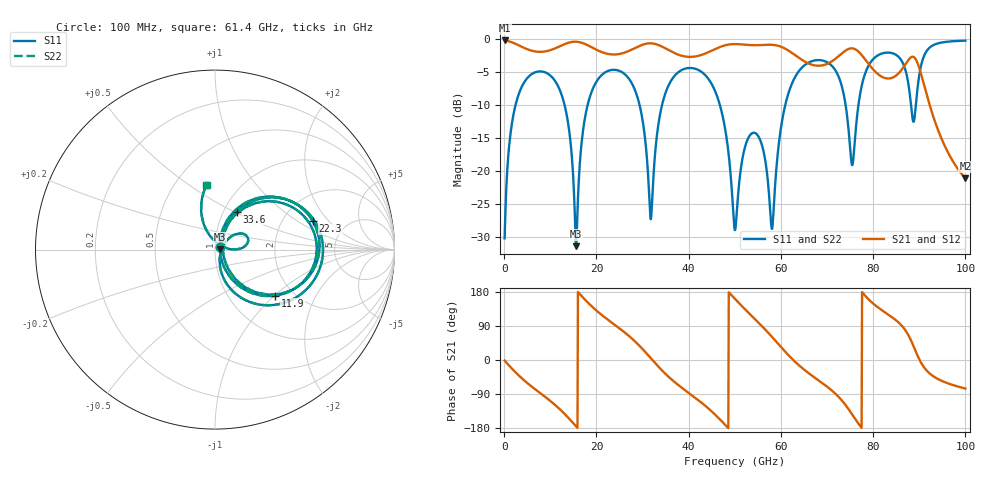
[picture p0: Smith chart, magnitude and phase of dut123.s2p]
! Touchstone file exported from HFSS 2026.1.0
!  File:  C:/ffzhzh/LocalFiles/Ansys_Project_Files/temp_train_TSV_RDL_123_1783459226_7600.aedt
!  Generated:  05:32:35 AM Jul  8, 2026
!  Design:  TSV_RDL
!  Project:  temp_train_TSV_RDL_123_1783459226_7600
! Variables:
!  h_bsmrdl = 2.64um
!  h_ox = 20um
!  h_rdl = 5um
!  h_sub = 79.86um
!  h_tmrdl = 2.88um
!  h_tsv = 79.86um
!  h_via = 3um
!  l_bsmrdl = 536.97um
!  l_sub = 3588.08um
!  l_tmrdl = 371.26um
!  m_sub = 200um
!  pitch = 47.56um
!  r_tsv = 11.27um
!  s_tmrdl = 10um
!  w_bsmrdl = 14.22um
!  w_sub = 500um
!  w_tmrdl = 16.49um
!  x_tsv_center1 = 379.505um
!  x_tsv_center2 = 930.695um
!  x_tsv_center3 = 1318.445um
!  x_tsv_center4 = 1869.635um
!  x_tsv_center5 = 2257.385um
!  x_tsv_center6 = 2808.575um
# GHz S MA R 50.000000
! Terminal data exported
! Port[1] = TM_RDL1_1_T1
! Port[2] = TM_RDL5_1_T1
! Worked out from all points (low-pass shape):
!   1000 points, 100 MHz to 100 GHz, reference 50 ohm
!   highest |S21| = -0.24 dB at 100 MHz (marker M1); lowest = -21.2 dB at 100 GHz (marker M2)
!   |S21| within 3 dB of the highest: start of sweep to 64.69 GHz; 71.4 GHz to 78.41 GHz (7.008 GHz wide, 9.36 % of centre) (the widest 2 of 3)
!   lowest |S11| = -31.4 dB at 15.6 GHz (marker M3), VSWR 1.06, Z = 52.7 + j0.167 ohm
!   |S11| at or under -10 dB: 13.09 GHz to 18.11 GHz (5.02 GHz wide, 32.2 % of centre); 29.35 GHz to 34.24 GHz (4.89 GHz wide, 15.4 % of centre); 46.76 GHz to 60.96 GHz (14.2 GHz wide, 26.4 % of centre) (the widest 3 of 6)
!   |S22| runs from -31.7 to -0.3 dB; largest |S21 - S12| = 1.8e-14
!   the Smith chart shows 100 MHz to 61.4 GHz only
!   S11 on the Smith chart (normalised r, x): 100 MHz: 1.06, +0.03; 11.9 GHz: 1.62, -1.01; 22.3 GHz: 2.92, +1.36; 33.6 GHz: 1.15, +0.52; 61.4 GHz: 0.71, +0.59
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0.1  0.03072 27.9  0.9731 -1.4  0.9731 -1.4  0.03072 27.9
! Gamma 0 0 0 0
! Port Impedance 50 0 50 0
3.5  0.4092 41.2  0.882 -44.6  0.882 -44.6  0.4092 41.2
11.9  0.4226 -37.4  0.8738 -127.9  0.8738 -127.9  0.4226 -37.4
15.6  0.02681 3.4  0.9519 -175.1  0.9519 -175.1  0.02612 3.3
16.8  0.164 68.0  0.9351 168.7  0.9351 168.7  0.1638 68.2
22.3  0.5673 16.2  0.772 108.1  0.772 108.1  0.5672 16.3
28.7  0.38 -41.1  0.8634 45.2  0.8634 45.2  0.3799 -40.9
31.8  0.04292 3.8  0.9257 4.7  0.9257 4.7  0.04398 4.0
33.4  0.22 61.3  0.9 -17.0  0.9 -17.0  0.2204 61.1
33.6  0.2441 59.9  0.8942 -19.6  0.8942 -19.6  0.2444 59.7
44.2  0.502 -34.8  0.7908 -127.0  0.7908 -127.0  0.502 -34.8
50.1  0.03565 -8.8  0.9137 160.5  0.9137 160.5  0.03481 -8.5
52.7  0.1701 31.8  0.9008 128.0  0.9008 128.0  0.1699 32.2
56.1  0.1471 2.8  0.8996 86.7  0.8996 86.7  0.1472 3.3
58.1  0.03623 61.2  0.902 60.6  0.902 60.6  0.03762 61.3
61.4  0.363 97.6  0.8254 15.9  0.8254 15.9  0.3632 97.4
66.7  0.6774 47.3  0.6375 -41.0  0.6375 -41.0  0.6774 47.3
73.3  0.4251 -7.5  0.7807 -107.9  0.7807 -107.9  0.4252 -7.3
76.4  0.2375 81.0  0.8233 -160.7  0.8233 -160.7  0.2382 80.9
83.4  0.787 29.0  0.5009 118.9  0.5009 118.9  0.7872 29.0
89.4  0.3551 63.6  0.6837 17.9  0.6837 17.9  0.3555 63.5
100  0.9693 11.4  0.08758 -75.3  0.08758 -75.3  0.9692 11.4
